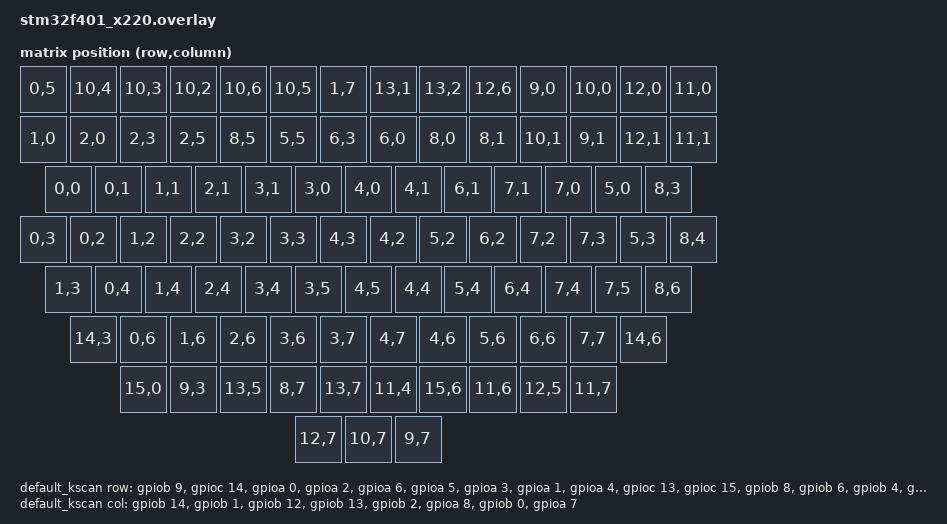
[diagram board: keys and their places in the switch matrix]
#include <dt-bindings/zmk/matrix_transform.h>

/ {
    chosen {
        zmk,kscan = &default_kscan;
        zmk,matrix_transform = &default_transform;
    };

    default_kscan: kscan_0 {
        compatible = "zmk,kscan-gpio-matrix";
        label = "default_kscan";
        diode-direction = "col2row";

        col-gpios
            = <&gpiob 14 GPIO_ACTIVE_HIGH>  /* PB14 */
            , <&gpiob  1 GPIO_ACTIVE_HIGH>  /* PB1  */
            , <&gpiob 12 GPIO_ACTIVE_HIGH>  /* PB12 */
            , <&gpiob 13 GPIO_ACTIVE_HIGH>  /* PB13 */
            , <&gpiob  2 GPIO_ACTIVE_HIGH>  /* PB2  */
            , <&gpioa  8 GPIO_ACTIVE_HIGH>  /* PA8  */
            , <&gpiob  0 GPIO_ACTIVE_HIGH>  /* PB0  */
            , <&gpioa  7 GPIO_ACTIVE_HIGH>  /* PA7  */
            ;

        row-gpios
            = <&gpiob  9 (GPIO_ACTIVE_HIGH | GPIO_PULL_DOWN)>  /* PB9  */
            , <&gpioc 14 (GPIO_ACTIVE_HIGH | GPIO_PULL_DOWN)>  /* PC14 */
            , <&gpioa  0 (GPIO_ACTIVE_HIGH | GPIO_PULL_DOWN)>  /* PA0  */
            , <&gpioa  2 (GPIO_ACTIVE_HIGH | GPIO_PULL_DOWN)>  /* PA2  */
            , <&gpioa  6 (GPIO_ACTIVE_HIGH | GPIO_PULL_DOWN)>  /* PA6  */
            , <&gpioa  5 (GPIO_ACTIVE_HIGH | GPIO_PULL_DOWN)>  /* PA5  */
            , <&gpioa  3 (GPIO_ACTIVE_HIGH | GPIO_PULL_DOWN)>  /* PA3  */
            , <&gpioa  1 (GPIO_ACTIVE_HIGH | GPIO_PULL_DOWN)>  /* PA1  */
            , <&gpioa  4 (GPIO_ACTIVE_HIGH | GPIO_PULL_DOWN)>  /* PA4  */
            , <&gpioc 13 (GPIO_ACTIVE_HIGH | GPIO_PULL_DOWN)>  /* PC13 */
            , <&gpioc 15 (GPIO_ACTIVE_HIGH | GPIO_PULL_DOWN)>  /* PC15 */
            , <&gpiob  8 (GPIO_ACTIVE_HIGH | GPIO_PULL_DOWN)>  /* PB8  */
            , <&gpiob  6 (GPIO_ACTIVE_HIGH | GPIO_PULL_DOWN)>  /* PB6  */
            , <&gpiob  4 (GPIO_ACTIVE_HIGH | GPIO_PULL_DOWN)>  /* PB4  */
            , <&gpiob  7 (GPIO_ACTIVE_HIGH | GPIO_PULL_DOWN)>  /* PB7  */
            , <&gpiob  5 (GPIO_ACTIVE_HIGH | GPIO_PULL_DOWN)>  /* PB5 */
            ;
    };

    default_transform: keymap_transform_0 {
        compatible = "zmk,matrix-transform";
        columns = <8>;
        rows = <16>;
        
        map = <
            RC(0,5) RC(10,4) RC(10,3) RC(10,2) RC(10,6) RC(10,5) RC(1,7) RC(13,1) RC(13,2) RC(12,6) RC(9,0) RC(10,0) RC(12,0) RC(11,0)
            RC(1,0) RC(2,0) RC(2,3) RC(2,5) RC(8,5) RC(5,5) RC(6,3) RC(6,0) RC(8,0) RC(8,1) RC(10,1) RC(9,1) RC(12,1) RC(11,1)
            RC(0,0) RC(0,1) RC(1,1) RC(2,1) RC(3,1) RC(3,0) RC(4,0) RC(4,1) RC (5,1) RC(6,1) RC(7,1) RC(7,0) RC(5,0) RC(8,3)
            RC(0,3) RC(0,2) RC(1,2) RC(2,2) RC(3,2) RC(3,3) RC(4,3) RC(4,2) RC(5,2) RC(6,2) RC(7,2) RC(7,3) RC(5,3) RC(8,4)
            RC(1,3) RC(0,4) RC(1,4) RC(2,4) RC(3,4) RC(3,5) RC(4,5) RC(4,4) RC(5,4) RC(6,4) RC(7,4) RC(7,5) RC(8,6)
            RC(14,3) RC(0,6) RC(1,6) RC(2,6) RC(3,6) RC(3,7) RC(4,7) RC(4,6) RC(5,6) RC(6,6) RC(7,7) RC(14,6)
            RC(15,0) RC(9,3) RC(13,5) RC(8,7) RC(13,7) RC(11,4) RC(15,6) RC(11,6) RC(12,5) RC(11,7)
            RC(12,7) RC(10,7) RC(9,7)
        >;
    };

};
